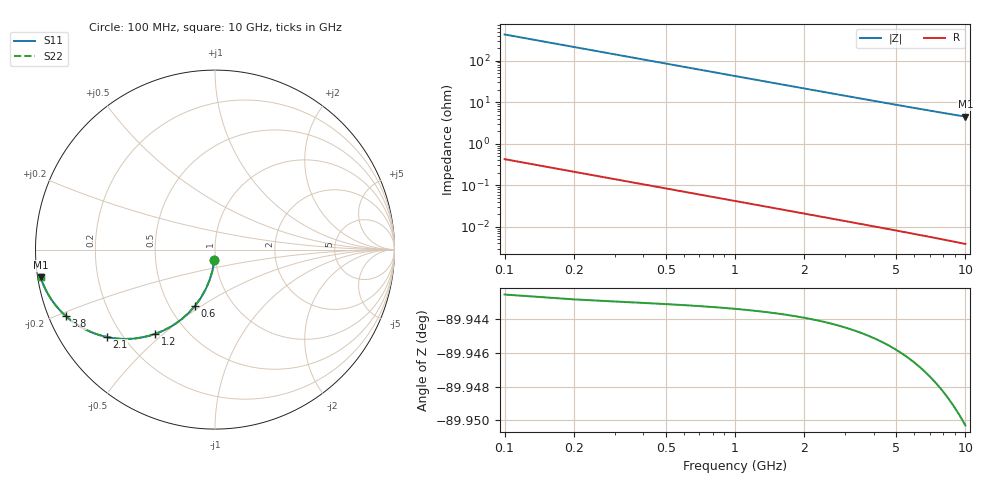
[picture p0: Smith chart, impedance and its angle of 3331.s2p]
# Hz S RI R 50.00
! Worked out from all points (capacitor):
!   100 points, 100 MHz to 10 GHz, reference 50 ohm
!   read as one part in shunt: C = 3.75 pF near 100 MHz
!   lowest |Z| = 4.49 ohm at 10 GHz (marker M1)
!   S11 on the Smith chart (normalised r, x): 100 MHz: 0.99, -0.12; 600 MHz: 0.67, -0.47; 1.2 GHz: 0.34, -0.47; 2.1 GHz: 0.14, -0.35; 3.8 GHz: 0.05, -0.21; 10 GHz: 0.01, -0.08
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1e8  -0.00349 -0.0585  0.9965 -0.0587  0.9965 -0.0587  -0.00349 -0.0585
2e8  -0.0138 -0.1159  0.9862 -0.1163  0.9862 -0.1163  -0.0138 -0.1159
3e8  -0.0304 -0.1709  0.9696 -0.1714  0.9696 -0.1714  -0.0304 -0.1709
4e8  -0.0527 -0.2225  0.9473 -0.2233  0.9473 -0.2233  -0.0527 -0.2225
5e8  -0.0799 -0.2701  0.9201 -0.2711  0.9201 -0.2711  -0.0799 -0.2701
6e8  -0.111 -0.3131  0.889 -0.3142  0.889 -0.3142  -0.111 -0.3131
7e8  -0.1452 -0.3511  0.8548 -0.3525  0.8548 -0.3525  -0.1452 -0.3511
9e8  -0.219 -0.4122  0.7809 -0.414  0.7809 -0.414  -0.219 -0.4122
1.2e9  -0.3323 -0.4694  0.6676 -0.4717  0.6676 -0.4717  -0.3323 -0.4694
1.5e9  -0.4371 -0.4941  0.5628 -0.497  0.5628 -0.497  -0.4371 -0.4941
1.8e9  -0.5276 -0.497  0.4723 -0.5005  0.4723 -0.5005  -0.5276 -0.497
2.1e9  -0.6029 -0.4867  0.397 -0.4908  0.397 -0.4908  -0.6029 -0.4867
2.4e9  -0.6645 -0.4693  0.3354 -0.474  0.3354 -0.474  -0.6645 -0.4693
2.7e9  -0.7146 -0.4484  0.2853 -0.4537  0.2853 -0.4537  -0.7146 -0.4484
3e9  -0.7554 -0.4264  0.2445 -0.4323  0.2445 -0.4323  -0.7554 -0.4264
3.4e9  -0.7985 -0.3972  0.2014 -0.404  0.2014 -0.404  -0.7985 -0.3972
3.8e9  -0.8318 -0.3697  0.1681 -0.3773  0.1681 -0.3773  -0.8318 -0.3697
4.4e9  -0.8688 -0.3327  0.1311 -0.3414  0.1311 -0.3414  -0.8688 -0.3327
5.1e9  -0.8989 -0.2958  0.101 -0.306  0.101 -0.306  -0.8989 -0.2958
6.7e9  -0.9388 -0.2322  0.061 -0.2458  0.061 -0.2458  -0.9388 -0.2322
8.4e9  -0.9603 -0.1858  0.0395 -0.2031  0.0395 -0.2031  -0.9603 -0.1858
1e10  -0.9718 -0.1543  0.0279 -0.175  0.0279 -0.175  -0.9718 -0.1543
